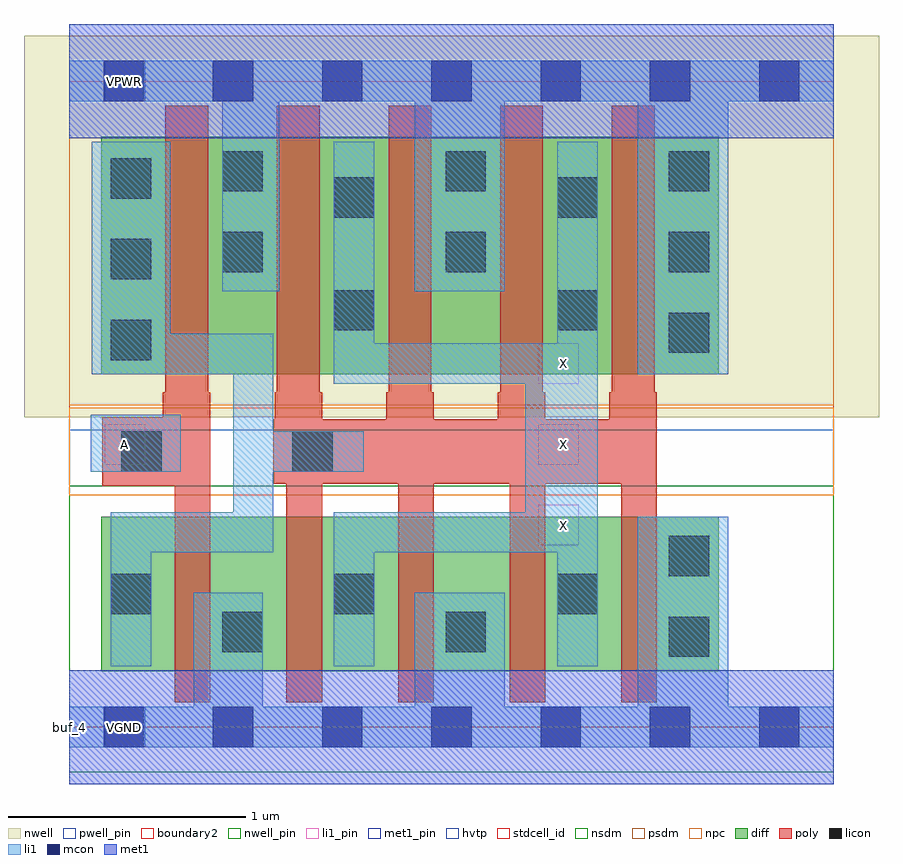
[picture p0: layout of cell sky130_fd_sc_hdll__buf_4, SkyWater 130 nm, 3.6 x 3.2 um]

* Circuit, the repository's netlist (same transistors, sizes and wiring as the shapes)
* Copyright 2020 The SkyWater PDK Authors
*
* Licensed under the Apache License, Version 2.0 (the "License");
* you may not use this file except in compliance with the License.
* You may obtain a copy of the License at
*
*     https://www.apache.org/licenses/LICENSE-2.0
*
* Unless required by applicable law or agreed to in writing, software
* distributed under the License is distributed on an "AS IS" BASIS,
* WITHOUT WARRANTIES OR CONDITIONS OF ANY KIND, either express or implied.
* See the License for the specific language governing permissions and
* limitations under the License.
*
* SPDX-License-Identifier: Apache-2.0

.SUBCKT sky130_fd_sc_hdll__buf_4 A VGND VNB VPB VPWR X
*.PININFO A:I VGND:I VNB:I VPB:I VPWR:I X:O
MMIN1 Ab A VGND VNB sky130_fd_pr__nfet_01v8 m=1 w=0.65U l=0.15U mult=1 sa=0.265
+ sb=0.265 sd=0.28 area=0.063 perim=1.14
MMIN2 X Ab VGND VNB sky130_fd_pr__nfet_01v8 m=4 w=0.65U l=0.15U mult=1 sa=0.265
+ sb=0.265 sd=0.28 area=0.063 perim=1.14
MMIP1 Ab A VPWR VPB sky130_fd_pr__pfet_01v8_hvt m=1 w=1.0U l=0.18U mult=1 sa=0.265
+ sb=0.265 sd=0.28 area=0.063 perim=1.14
MMIP2 X Ab VPWR VPB sky130_fd_pr__pfet_01v8_hvt m=4 w=1.0U l=0.18U mult=1 sa=0.265
+ sb=0.265 sd=0.28 area=0.063 perim=1.14
.ENDS sky130_fd_sc_hdll__buf_4

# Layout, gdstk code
import gdstk
lib = gdstk.Library(unit=1e-6, precision=1e-09)
def R(c, l, rs):  # rectangles x0, y0, x1, y1
    for r in rs: c.add(gdstk.rectangle(r[:2], r[2:], *l))
def A(c, l, x, y, w, h, nx, ny, dx, dy):  # array of equal rectangles
    R(c, l, [(x+i*dx, y+j*dy, x+i*dx+w, y+j*dy+h) for i in range(nx) for j in range(ny)])
def P(c, l, *ps):  # polygons
    for p in ps: c.add(gdstk.Polygon(p, *l))
nwell_pin = (64, 16)
nwell = (64, 20)
diff = (65, 20)
poly = (66, 20)
licon = (66, 44)
li1_pin = (67, 16)
li1 = (67, 20)
mcon = (67, 44)
met1_pin = (68, 16)
met1 = (68, 20)
hvtp = (78, 44)
stdcell_id = (81, 4)
nsdm = (93, 44)
psdm = (94, 20)
npc = (95, 20)
pwell_pin = (122, 16)
boundary2 = (236, 0)

sky130_fd_sc_hdll__buf_4 = lib.new_cell('sky130_fd_sc_hdll__buf_4')
R(sky130_fd_sc_hdll__buf_4, nwell_pin, [(0.15,2.635,0.32,2.805)])
R(sky130_fd_sc_hdll__buf_4, nwell, [(-0.19,1.305,3.41,2.91)])
R(sky130_fd_sc_hdll__buf_4, diff, [(0.135,0.235,2.735,0.885), (0.135,1.485,2.735,2.485)])
P(sky130_fd_sc_hdll__buf_4, poly, [(0.595,1.41),(0.585,1.41),(0.585,2.615),(0.405,2.615),(0.405,1.41),(0.395,1.41),(0.395,1.305),(0.14,1.305),(0.14,1.015),(0.445,1.015),(0.445,0.105),(0.595,0.105)],
  [(2.475,1.41),(2.465,1.41),(2.465,2.615),(2.285,2.615),(2.285,1.41),(2.275,1.41),(2.275,1.295),(2.005,1.295),(2.005,1.41),(1.995,1.41),(1.995,2.615),(1.815,2.615),(1.815,1.41),(1.805,1.41),(1.805,1.295),(1.535,1.295),(1.535,1.41),(1.525,1.41),(1.525,2.615),(1.345,2.615),(1.345,1.41),(1.335,1.41),(1.335,1.295),(1.065,1.295),(1.065,1.41),(1.055,1.41),(1.055,2.615),(0.875,2.615),(0.875,1.41),(0.865,1.41),(0.865,1.295),(0.86,1.295),(0.86,1.025),(0.915,1.025),(0.915,0.105),(1.065,0.105),(1.065,1.025),(1.385,1.025),(1.385,0.105),(1.535,0.105),(1.535,1.025),(1.855,1.025),(1.855,0.105),(2.005,0.105),(2.005,1.025),(2.325,1.025),(2.325,0.105),(2.475,0.105)])
A(sky130_fd_sc_hdll__buf_4, licon, 0.175, 0.475, 0.17, 0.17, 3, 1, 0.94, 0)
A(sky130_fd_sc_hdll__buf_4, licon, 0.175, 1.545, 0.17, 0.17, 1, 3, 0, 0.34)
A(sky130_fd_sc_hdll__buf_4, licon, 0.645, 1.915, 0.17, 0.17, 3, 2, 0.94, 0.34)
R(sky130_fd_sc_hdll__buf_4, licon, [(2.525,0.295,2.695,0.465), (0.645,0.315,0.815,0.485), (1.585,0.315,1.755,0.485), (2.525,0.635,2.695,0.805), (0.22,1.075,0.39,1.245), (0.94,1.075,1.11,1.245), (2.525,1.575,2.695,1.745), (1.115,1.67,1.285,1.84), (2.055,1.67,2.225,1.84), (1.115,2.145,1.285,2.315), (2.055,2.145,2.225,2.315)])
A(sky130_fd_sc_hdll__buf_4, li1_pin, 1.975, 0.765, 0.17, 0.17, 1, 3, 0, 0.34)
R(sky130_fd_sc_hdll__buf_4, li1_pin, [(0.15,-0.085,0.32,0.085), (0.15,1.105,0.32,1.275), (0.15,2.635,0.32,2.805)])
R(sky130_fd_sc_hdll__buf_4, li1, [(0.09,1.075,0.47,1.315)])
P(sky130_fd_sc_hdll__buf_4, li1, [(1.24,1.245),(0.86,1.245),(0.86,1.655),(0.425,1.655),(0.425,2.465),(0.095,2.465),(0.095,1.485),(0.69,1.485),(0.69,0.905),(0.175,0.905),(0.175,0.255),(0.345,0.255),(0.345,0.735),(0.86,0.735),(0.86,1.075),(1.24,1.075)],
  [(2.225,2.465),(2.055,2.465),(2.055,1.615),(1.285,1.615),(1.285,2.465),(1.115,2.465),(1.115,1.445),(1.92,1.445),(1.92,0.905),(1.115,0.905),(1.115,0.255),(1.285,0.255),(1.285,0.735),(2.055,0.735),(2.055,0.255),(2.225,0.255)],
  [(3.22,2.805),(0,2.805),(0,2.635),(0.645,2.635),(0.645,1.835),(0.885,1.835),(0.885,2.635),(1.455,2.635),(1.455,1.835),(1.835,1.835),(1.835,2.635),(2.395,2.635),(2.395,1.485),(2.775,1.485),(2.775,2.635),(3.22,2.635)],
  [(3.22,0.085),(2.775,0.085),(2.775,0.885),(2.395,0.885),(2.395,0.085),(1.835,0.085),(1.835,0.565),(1.455,0.565),(1.455,0.085),(0.815,0.085),(0.815,0.565),(0.525,0.565),(0.525,0.085),(0,0.085),(0,-0.085),(3.22,-0.085)])
A(sky130_fd_sc_hdll__buf_4, mcon, 0.145, -0.085, 0.17, 0.17, 7, 2, 0.46, 2.72)
R(sky130_fd_sc_hdll__buf_4, met1_pin, [(0.15,-0.085,0.32,0.085), (0.15,2.635,0.32,2.805)])
R(sky130_fd_sc_hdll__buf_4, met1, [(0,-0.24,3.22,0.24), (0,2.48,3.22,2.96)])
R(sky130_fd_sc_hdll__buf_4, hvtp, [(0,1.25,3.22,2.72)])
R(sky130_fd_sc_hdll__buf_4, stdcell_id, [(0,0,3.22,2.72)])
R(sky130_fd_sc_hdll__buf_4, nsdm, [(0,-0.19,3.22,1.015)])
R(sky130_fd_sc_hdll__buf_4, psdm, [(0,1.355,3.22,2.91)])
R(sky130_fd_sc_hdll__buf_4, npc, [(0,0.975,3.22,1.345)])
R(sky130_fd_sc_hdll__buf_4, pwell_pin, [(0.15,-0.085,0.32,0.085)])
R(sky130_fd_sc_hdll__buf_4, boundary2, [(0,0,3.22,2.72)])
sky130_fd_sc_hdll__buf_4.add(gdstk.Label('VPWR', (0.235,2.72), layer=68, texttype=5))
sky130_fd_sc_hdll__buf_4.add(gdstk.Label('VGND', (0.235,0), layer=68, texttype=5))
sky130_fd_sc_hdll__buf_4.add(gdstk.Label('X', (2.08,1.19), layer=67, texttype=5))
sky130_fd_sc_hdll__buf_4.add(gdstk.Label('X', (2.08,1.53), layer=67, texttype=5))
sky130_fd_sc_hdll__buf_4.add(gdstk.Label('X', (2.08,0.85), layer=67, texttype=5))
sky130_fd_sc_hdll__buf_4.add(gdstk.Label('VPWR', (0.235,2.72), layer=67, texttype=5))
sky130_fd_sc_hdll__buf_4.add(gdstk.Label('VGND', (0.235,0), layer=67, texttype=5))
sky130_fd_sc_hdll__buf_4.add(gdstk.Label('A', (0.235,1.19), layer=67, texttype=5))
sky130_fd_sc_hdll__buf_4.add(gdstk.Label('VPB', (0.235,2.72), layer=64, texttype=5))
sky130_fd_sc_hdll__buf_4.add(gdstk.Label('VNB', (0.235,0), layer=64, texttype=59))
sky130_fd_sc_hdll__buf_4.add(gdstk.Label('buf_4', (0,0), layer=83, texttype=44))

lib.write_gds('sky130_fd_sc_hdll__buf_4.gds')
